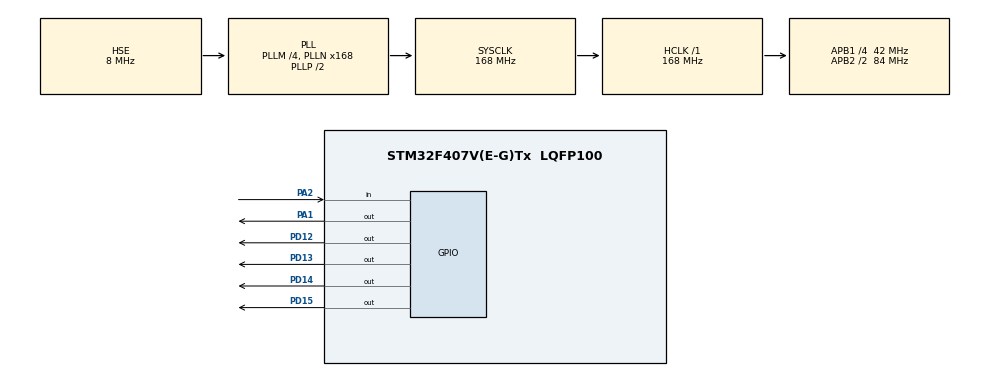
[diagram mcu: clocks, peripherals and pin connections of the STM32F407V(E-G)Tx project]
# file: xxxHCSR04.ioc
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Mcu.Family=STM32F4
Mcu.Name=STM32F407V(E-G)Tx
Mcu.Package=LQFP100
NVIC.PriorityGroup=NVIC_PRIORITYGROUP_4
PA1.Signal=GPIO_Output
PA2.Signal=GPIO_Input
PD12.Signal=GPIO_Output
PD13.Signal=GPIO_Output
PD14.Signal=GPIO_Output
PD15.Signal=GPIO_Output
PH0-OSC_IN.Mode=HSE-External-Oscillator
PH0-OSC_IN.Signal=RCC_OSC_IN
PH1-OSC_OUT.Mode=HSE-External-Oscillator
PH1-OSC_OUT.Signal=RCC_OSC_OUT
ProjectManager.HeapSize=0x200
ProjectManager.StackSize=0x400
ProjectManager.TargetToolchain=STM32CubeIDE
RCC.48MHZClocksFreq_Value=84000000
RCC.AHBFreq_Value=168000000
RCC.APB1CLKDivider=RCC_HCLK_DIV4
RCC.APB1Freq_Value=42000000
RCC.APB1TimFreq_Value=84000000
RCC.APB2CLKDivider=RCC_HCLK_DIV2
RCC.APB2Freq_Value=84000000
RCC.APB2TimFreq_Value=168000000
RCC.CortexFreq_Value=168000000
RCC.HCLKFreq_Value=168000000
RCC.HSE_VALUE=8000000
RCC.HSI_VALUE=16000000
RCC.LSE_VALUE=32768
RCC.PLLM=4
RCC.PLLN=168
RCC.PLLSourceVirtual=RCC_PLLSOURCE_HSE
RCC.SYSCLKFreq_VALUE=168000000
RCC.SYSCLKSource=RCC_SYSCLKSOURCE_PLLCLK
RCC.VCOOutputFreq_Value=336000000
board=custom

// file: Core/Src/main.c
/* USER CODE BEGIN Header */
/**
  ******************************************************************************
  * @file           : main.c
  * @brief          : Main program body
  ******************************************************************************
  * @attention
  *
  * Copyright (c) 2024 STMicroelectronics.
  * All rights reserved.
  *
  * This software is licensed under terms that can be found in the LICENSE file
  * in the root directory of this software component.
  * If no LICENSE file comes with this software, it is provided AS-IS.
  *
  ******************************************************************************
  */
/* USER CODE END Header */
#include "main.h"

/* USER CODE BEGIN Includes */
#include "dwt_stm32_delay.h"
/* USER CODE END Includes */

/* USER CODE BEGIN PV */
uint32_t time;
uint16_t distance;
/* USER CODE END PV */

void SystemClock_Config(void);
static void MX_GPIO_Init(void);

/* USER CODE BEGIN 0 */

uint32_t Read_HCSR04()
{
	uint32_t local_time=0;

	HAL_GPIO_WritePin(GPIOA, GPIO_PIN_1, GPIO_PIN_SET);
	DWT_Delay_us(10);
	HAL_GPIO_WritePin(GPIOA, GPIO_PIN_1, GPIO_PIN_RESET);  //10us tetikleme yaptım

	while(!HAL_GPIO_ReadPin(GPIOA, GPIO_PIN_2)); //echo pininden veri gelene kadar bekle

	while(HAL_GPIO_ReadPin(GPIOA, GPIO_PIN_2))
	{
		local_time++;
		DWT_Delay_us(1);  //local time her 1 us de 1 artacak; local time=10 => 10us geçmiş olacak
	}
	return local_time;

}

/* USER CODE END 0 */

int main(void)
{

  /* MCU Configuration--------------------------------------------------------*/

  /* Reset of all peripherals, Initializes the Flash interface and the Systick. */
  HAL_Init();

  /* Configure the system clock */
  SystemClock_Config();

  /* Initialize all configured peripherals */
  MX_GPIO_Init();
  /* USER CODE BEGIN 2 */
DWT_Delay_Init();
  /* USER CODE END 2 */

  /* Infinite loop */
  while (1)
  {

    /* USER CODE BEGIN 3 */

	  time=Read_HCSR04();
	  distance=time/58;

	  if(distance<8)
	  {
		  HAL_GPIO_WritePin(GPIOD, GPIO_PIN_12,GPIO_PIN_SET);
		  HAL_GPIO_WritePin(GPIOD, GPIO_PIN_13 | GPIO_PIN_14 | GPIO_PIN_15 , GPIO_PIN_RESET);
		  HAL_Delay(200);
	  }
	  else if(distance>7.9 && distance <15)
	  {
		  HAL_GPIO_WritePin(GPIOD, GPIO_PIN_13,GPIO_PIN_SET);
		  HAL_GPIO_WritePin(GPIOD, GPIO_PIN_12 | GPIO_PIN_14 | GPIO_PIN_15 , GPIO_PIN_RESET);
		  HAL_Delay(200);
	  }

	  else if(distance>14.9 && distance<24)
	  	  {
	  		  HAL_GPIO_WritePin(GPIOD, GPIO_PIN_14,GPIO_PIN_SET);
			  HAL_GPIO_WritePin(GPIOD, GPIO_PIN_12 | GPIO_PIN_13 | GPIO_PIN_15 , GPIO_PIN_RESET);
			  HAL_Delay(200);
	  	  }
	  else
	  {
		  HAL_GPIO_WritePin(GPIOD, GPIO_PIN_12 | GPIO_PIN_13 |  GPIO_PIN_14 | GPIO_PIN_15 ,GPIO_PIN_SET);
	  	  HAL_Delay(200);
	  }
  }

  /* USER CODE END 3 */
}

void SystemClock_Config(void)
{
  RCC_OscInitTypeDef RCC_OscInitStruct = {0};
  RCC_ClkInitTypeDef RCC_ClkInitStruct = {0};

  /** Configure the main internal regulator output voltage
  */
  __HAL_RCC_PWR_CLK_ENABLE();
  __HAL_PWR_VOLTAGESCALING_CONFIG(PWR_REGULATOR_VOLTAGE_SCALE1);

  /** Initializes the RCC Oscillators according to the specified parameters
  * in the RCC_OscInitTypeDef structure.
  */
  RCC_OscInitStruct.OscillatorType = RCC_OSCILLATORTYPE_HSE;
  RCC_OscInitStruct.HSEState = RCC_HSE_ON;
  RCC_OscInitStruct.PLL.PLLState = RCC_PLL_ON;
  RCC_OscInitStruct.PLL.PLLSource = RCC_PLLSOURCE_HSE;
  RCC_OscInitStruct.PLL.PLLM = 4;
  RCC_OscInitStruct.PLL.PLLN = 168;
  RCC_OscInitStruct.PLL.PLLP = RCC_PLLP_DIV2;
  RCC_OscInitStruct.PLL.PLLQ = 4;
  if (HAL_RCC_OscConfig(&RCC_OscInitStruct) != HAL_OK)
  {
    Error_Handler();
  }

  /** Initializes the CPU, AHB and APB buses clocks
  */
  RCC_ClkInitStruct.ClockType = RCC_CLOCKTYPE_HCLK|RCC_CLOCKTYPE_SYSCLK
                              |RCC_CLOCKTYPE_PCLK1|RCC_CLOCKTYPE_PCLK2;
  RCC_ClkInitStruct.SYSCLKSource = RCC_SYSCLKSOURCE_PLLCLK;
  RCC_ClkInitStruct.AHBCLKDivider = RCC_SYSCLK_DIV1;
  RCC_ClkInitStruct.APB1CLKDivider = RCC_HCLK_DIV4;
  RCC_ClkInitStruct.APB2CLKDivider = RCC_HCLK_DIV2;

  if (HAL_RCC_ClockConfig(&RCC_ClkInitStruct, FLASH_LATENCY_5) != HAL_OK)
  {
    Error_Handler();
  }
}

static void MX_GPIO_Init(void)
{
  GPIO_InitTypeDef GPIO_InitStruct = {0};

  /* GPIO Ports Clock Enable */
  __HAL_RCC_GPIOH_CLK_ENABLE();
  __HAL_RCC_GPIOA_CLK_ENABLE();
  __HAL_RCC_GPIOD_CLK_ENABLE();

  /*Configure GPIO pin Output Level */
  HAL_GPIO_WritePin(GPIOA, GPIO_PIN_1, GPIO_PIN_RESET);

  /*Configure GPIO pin Output Level */
  HAL_GPIO_WritePin(GPIOD, GPIO_PIN_12|GPIO_PIN_13|GPIO_PIN_14|GPIO_PIN_15, GPIO_PIN_RESET);

  /*Configure GPIO pin : PA1 */
  GPIO_InitStruct.Pin = GPIO_PIN_1;
  GPIO_InitStruct.Mode = GPIO_MODE_OUTPUT_PP;
  GPIO_InitStruct.Pull = GPIO_NOPULL;
  GPIO_InitStruct.Speed = GPIO_SPEED_FREQ_LOW;
  HAL_GPIO_Init(GPIOA, &GPIO_InitStruct);

  /*Configure GPIO pin : PA2 */
  GPIO_InitStruct.Pin = GPIO_PIN_2;
  GPIO_InitStruct.Mode = GPIO_MODE_INPUT;
  GPIO_InitStruct.Pull = GPIO_NOPULL;
  HAL_GPIO_Init(GPIOA, &GPIO_InitStruct);

  /*Configure GPIO pins : PD12 PD13 PD14 PD15 */
  GPIO_InitStruct.Pin = GPIO_PIN_12|GPIO_PIN_13|GPIO_PIN_14|GPIO_PIN_15;
  GPIO_InitStruct.Mode = GPIO_MODE_OUTPUT_PP;
  GPIO_InitStruct.Pull = GPIO_NOPULL;
  GPIO_InitStruct.Speed = GPIO_SPEED_FREQ_LOW;
  HAL_GPIO_Init(GPIOD, &GPIO_InitStruct);

}

void Error_Handler(void)
{
  __disable_irq();
  while (1)
  {
  }
}
